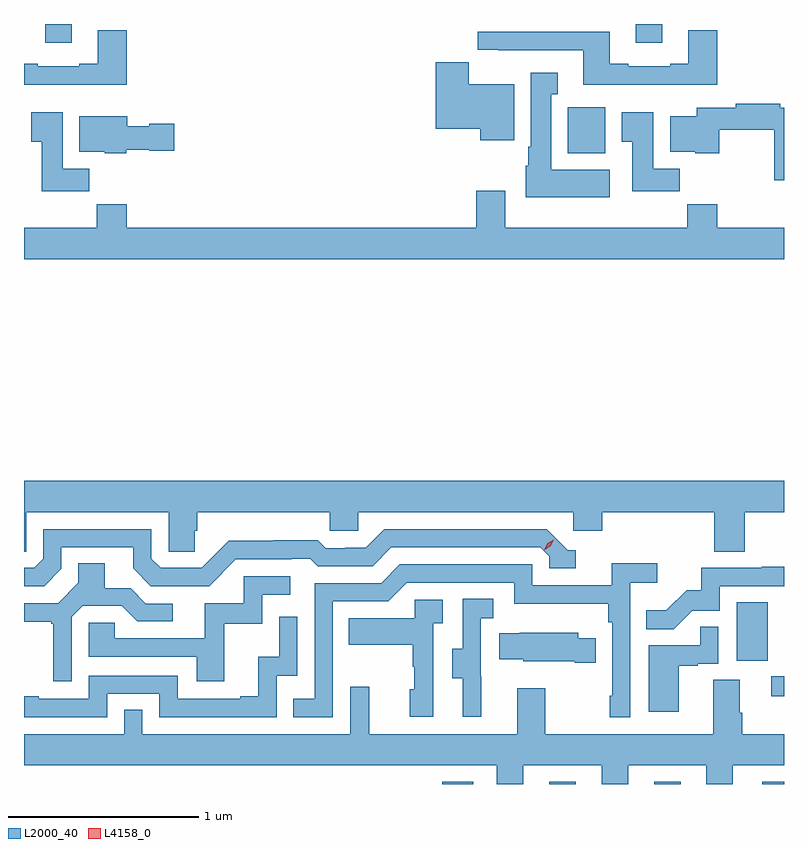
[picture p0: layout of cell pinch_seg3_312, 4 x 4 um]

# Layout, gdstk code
import gdstk
lib = gdstk.Library(unit=1e-6, precision=1e-09)
def R(c, l, rs):  # rectangles x0, y0, x1, y1
    for r in rs: c.add(gdstk.rectangle(r[:2], r[2:], *l))
def P(c, l, *ps):  # polygons
    for p in ps: c.add(gdstk.Polygon(p, *l))
L2000_40 = (2000, 40)
L4158_0 = (4158, 0)

pinch_seg3_312 = lib.new_cell('pinch_seg3_312')
R(pinch_seg3_312, L2000_40, [(990.095,712.805,990.259,712.816), (990.659,712.805,990.799,712.816), (991.211,712.805,991.351,712.816), (991.781,712.805,991.895,712.816), (991.827,713.268,991.895,713.373), (991.646,713.454,991.81,713.761), (990.758,716.126,990.955,716.368), (988.007,716.706,988.147,716.805), (991.115,716.706,991.255,716.805)])
P(pinch_seg3_312, L2000_40, [(991.544,716.773),(991.391,716.773),(991.391,716.596),(991.295,716.596),(991.295,716.583),(991.075,716.583),(991.075,716.596),(990.979,716.596),(990.979,716.764),(990.282,716.764),(990.282,716.669),(990.391,716.669),(990.391,716.667),(990.839,716.667),(990.839,716.486),(991.544,716.486)],
  [(988.436,716.773),(988.283,716.773),(988.283,716.596),(988.187,716.596),(988.187,716.583),(987.967,716.583),(987.967,716.596),(987.895,716.596),(987.895,716.486),(988.436,716.486)],
  [(990.475,716.488),(990.235,716.488),(990.235,716.604),(990.062,716.604),(990.062,716.255),(990.296,716.255),(990.296,716.192),(990.475,716.192)],
  [(990.979,716.038),(990.67,716.038),(990.67,716.435),(990.703,716.435),(990.703,716.548),(990.563,716.548),(990.563,716.158),(990.548,716.158),(990.548,716.058),(990.536,716.058),(990.536,715.892),(990.979,715.892)],
  [(991.895,716.364),(991.874,716.364),(991.874,716.384),(991.642,716.384),(991.642,716.364),(991.436,716.364),(991.436,716.32),(991.295,716.32),(991.295,716.132),(991.428,716.132),(991.428,716.126),(991.554,716.126),(991.554,716.248),(991.843,716.248),(991.843,715.983),(991.895,715.983)],
  [(988.238,716.044),(988.099,716.044),(988.099,716.341),(987.932,716.341),(987.932,716.185),(987.989,716.185),(987.989,715.926),(988.238,715.926)],
  [(991.346,716.044),(991.207,716.044),(991.207,716.341),(991.04,716.341),(991.04,716.185),(991.097,716.185),(991.097,715.926),(991.346,715.926)],
  [(988.434,716.144),(988.554,716.144),(988.554,716.137),(988.687,716.137),(988.687,716.279),(988.554,716.279),(988.554,716.266),(988.438,716.266),(988.438,716.32),(988.187,716.32),(988.187,716.132),(988.32,716.132),(988.32,716.126),(988.434,716.126)],
  [(991.895,715.732),(991.544,715.732),(991.544,715.856),(991.387,715.856),(991.387,715.732),(990.427,715.732),(990.427,715.927),(990.275,715.927),(990.275,715.732),(988.436,715.732),(988.436,715.856),(988.279,715.856),(988.279,715.732),(987.895,715.732),(987.895,715.568),(991.895,715.568)],
  [(987.906,714.236),(988.656,714.236),(988.656,714.028),(988.793,714.028),(988.793,714.138),(988.808,714.138),(988.808,714.236),(989.505,714.236),(989.505,714.138),(989.655,714.138),(989.655,714.236),(990.786,714.236),(990.786,714.138),(990.938,714.138),(990.938,714.236),(991.529,714.236),(991.529,714.028),(991.689,714.028),(991.689,714.236),(991.895,714.236),(991.895,714.4),(987.895,714.4),(987.895,714.028),(987.906,714.028)],
  [(988.092,713.937),(988.092,714.051),(988.469,714.051),(988.469,713.941),(988.563,713.847),(988.869,713.847),(989.01,713.988),(989.303,713.988),(989.303,713.991),(989.402,713.991),(989.441,713.952),(989.73,713.952),(989.829,714.051),(990.612,714.051),(990.66,714.003),(990.66,713.94),(990.799,713.94),(990.799,714.036),(990.756,714.036),(990.645,714.147),(989.792,714.147),(989.693,714.048),(989.586,714.048),(989.586,714.045),(989.483,714.045),(989.441,714.088),(989.208,714.088),(989.208,714.085),(988.972,714.085),(988.83,713.943),(988.614,713.943),(988.566,713.991),(988.566,714.147),(987.996,714.147),(987.996,713.991),(987.948,713.943),(987.895,713.943),(987.895,713.847),(988.002,713.847)],
  [(989.52,713.766),(989.811,713.766),(989.91,713.865),(990.474,713.865),(990.474,713.753),(990.97,713.753),(990.97,713.657),(990.99,713.657),(990.99,713.269),(990.978,713.269),(990.978,713.157),(991.086,713.157),(991.086,713.864),(991.228,713.864),(991.228,713.966),(990.989,713.966),(990.989,713.85),(990.57,713.85),(990.57,713.961),(989.873,713.961),(989.774,713.862),(989.424,713.862),(989.424,713.253),(989.311,713.253),(989.311,713.157),(989.52,713.157)],
  [(988.146,713.685),(988.203,713.742),(988.409,713.742),(988.49,713.661),(988.678,713.661),(988.678,713.754),(988.536,713.754),(988.456,713.834),(988.321,713.834),(988.321,713.966),(988.181,713.966),(988.181,713.864),(988.074,713.757),(987.895,713.757),(987.895,713.66),(988.038,713.66),(988.038,713.649),(988.049,713.649),(988.049,713.346),(988.146,713.346)],
  [(991.413,713.718),(991.557,713.718),(991.557,713.847),(991.895,713.847),(991.895,713.948),(991.777,713.948),(991.777,713.943),(991.459,713.943),(991.459,713.826),(991.382,713.826),(991.275,713.719),(991.171,713.719),(991.171,713.62),(991.315,713.62)],
  [(988.949,713.649),(989.148,713.649),(989.148,713.802),(989.296,713.802),(989.296,713.898),(989.052,713.898),(989.052,713.757),(988.847,713.757),(988.847,713.571),(988.373,713.571),(988.373,713.655),(988.236,713.655),(988.236,713.475),(988.805,713.475),(988.805,713.346),(988.949,713.346)],
  [(990.302,713.373),(990.3,713.373),(990.3,713.677),(990.364,713.677),(990.364,713.78),(990.204,713.78),(990.204,713.517),(990.149,713.517),(990.149,713.362),(990.203,713.362),(990.203,713.16),(990.302,713.16)],
  [(990.048,713.651),(990.1,713.651),(990.1,713.775),(989.952,713.775),(989.952,713.677),(989.605,713.677),(989.605,713.537),(989.94,713.537),(989.94,713.423),(989.95,713.423),(989.95,713.304),(989.924,713.304),(989.924,713.16),(990.048,713.16)],
  [(988.332,713.28),(988.608,713.28),(988.608,713.157),(989.226,713.157),(989.226,713.376),(989.334,713.376),(989.334,713.686),(989.238,713.686),(989.238,713.474),(989.129,713.474),(989.129,713.266),(989.033,713.266),(989.033,713.253),(988.704,713.253),(988.704,713.376),(988.236,713.376),(988.236,713.253),(987.973,713.253),(987.973,713.266),(987.895,713.266),(987.895,713.157),(988.332,713.157)],
  [(991.342,713.427),(991.442,713.427),(991.442,713.439),(991.548,713.439),(991.548,713.633),(991.453,713.633),(991.453,713.535),(991.184,713.535),(991.184,713.184),(991.342,713.184)],
  [(990.905,713.572),(990.811,713.572),(990.811,713.602),(990.505,713.602),(990.505,713.599),(990.397,713.599),(990.397,713.462),(990.522,713.462),(990.522,713.45),(990.794,713.45),(990.794,713.443),(990.905,713.443)],
  [(991.663,713.18),(991.663,713.354),(991.523,713.354),(991.523,713.068),(990.639,713.068),(990.639,713.308),(990.491,713.308),(990.491,713.068),(989.711,713.068),(989.711,713.317),(989.613,713.317),(989.613,713.068),(988.518,713.068),(988.518,713.195),(988.422,713.195),(988.422,713.068),(987.895,713.068),(987.895,712.904),(990.383,712.904),(990.383,712.805),(990.523,712.805),(990.523,712.904),(990.935,712.904),(990.935,712.805),(991.075,712.805),(991.075,712.904),(991.487,712.904),(991.487,712.805),(991.626,712.805),(991.626,712.904),(991.895,712.904),(991.895,713.068),(991.676,713.068),(991.676,713.18)])
P(pinch_seg3_312, L4158_0, [(990.634,714.038),(990.634,714.039),(990.651,714.071),(990.682,714.09),(990.682,714.09),(990.682,714.09),(990.666,714.057),(990.635,714.038)])

lib.write_gds('pinch_seg3_312.gds')
